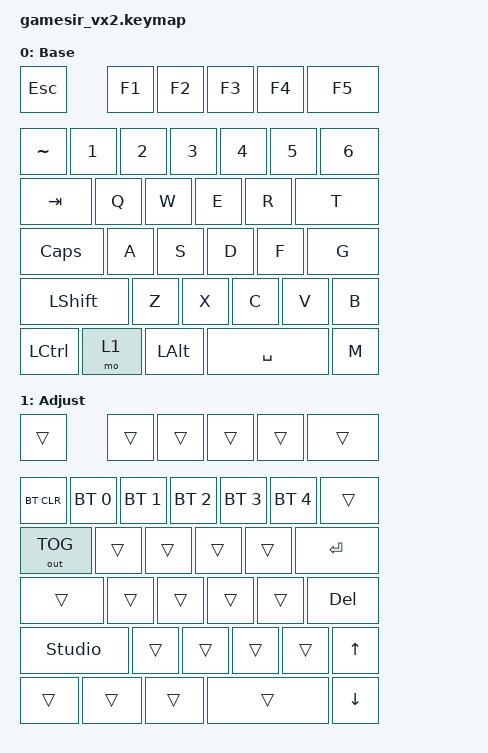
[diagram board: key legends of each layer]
/*
 * Copyright (c) 2021 The ZMK Contributors
 *
 * SPDX-License-Identifier: MIT
 */

#include <behaviors.dtsi>
#include <dt-bindings/zmk/keys.h>
#include <dt-bindings/zmk/bt.h>
#include <dt-bindings/zmk/outputs.h>


/ {
    keymap {
        compatible = "zmk,keymap";

        default_layer {  // Layer 0
            display-name = "Base";
            // -----------------------------------------------
            // | ESC |     F1  |  F2  |  F3  |  F4  |    F5  | 
            // |  ~  |  1  |  2   |  3   |  4   |  5  |   6  | 
            // |  TAB  |  Q   |  W   |  E   |  R   |      T  | 
            // |  CAPS  |  A   |  S   |  D   |  F   |   G    | 
            // |  LSHIFT |  Z   |  X   |  C   |  V   |   B   |  
            // | LCTRL |  FN  | LALT |      SPACE    |   M   |
            // -----------------------------------------------
            bindings = <
                &kp ESC             &kp F1      &kp F2     &kp F3     &kp F4    &kp F5
                &kp TILDE  &kp N1   &kp N2      &kp N3     &kp N4     &kp N5    &kp N6
                &kp TAB       &kp Q        &kp W       &kp E      &kp R       &kp T    
                &kp CAPS         &kp A        &kp S       &kp D      &kp F     &kp G
                &kp LSHFT         &kp Z        &kp X       &kp C      &kp V     &kp B
                &kp LCTRL  &mo 1    &kp LALT             &kp SPACE              &kp M
            >;
        };


        adjust_layer {  // Layer 1
            display-name = "Adjust";
            // -------------------------------------------------------------
            // |       |               |        |        |        |        | 
            // |BT_CLR |BT_SEL 0|BT_SEL 1|BT_SEL 2|BT_SEL 3|BT_SEL 4|      |
            // | out tog |        |        |        |         |     ENTER  | 
            // |           |        |        |        |        |   DEL     |
            // |              |        |        |        |        | UP     | 
            // |       |        |        |                       |  DOWN   | 
            // -------------------------------------------------------------
            bindings = <
               &trans                      &trans       &trans        &trans          &trans        &trans
               &bt BT_CLR    &bt BT_SEL 0  &bt BT_SEL 1  &bt BT_SEL 2   &bt BT_SEL 3  &bt BT_SEL 4  &trans
               &out OUT_TOG          &trans        &trans        &trans         &trans        &kp RET    
               &trans                  &trans        &trans        &trans         &trans        &kp DEL
               &studio_unlock             &trans        &trans         &trans        &trans         &kp UP       
               &trans         &trans         &trans                    &trans                       &kp DOWN 
            >;
        };

        extra1 {
            status = "reserved";
            display-name = "extra1";
        };

        extra2 {
            status = "reserved";
            display-name = "extra2";
        };
    };
};
